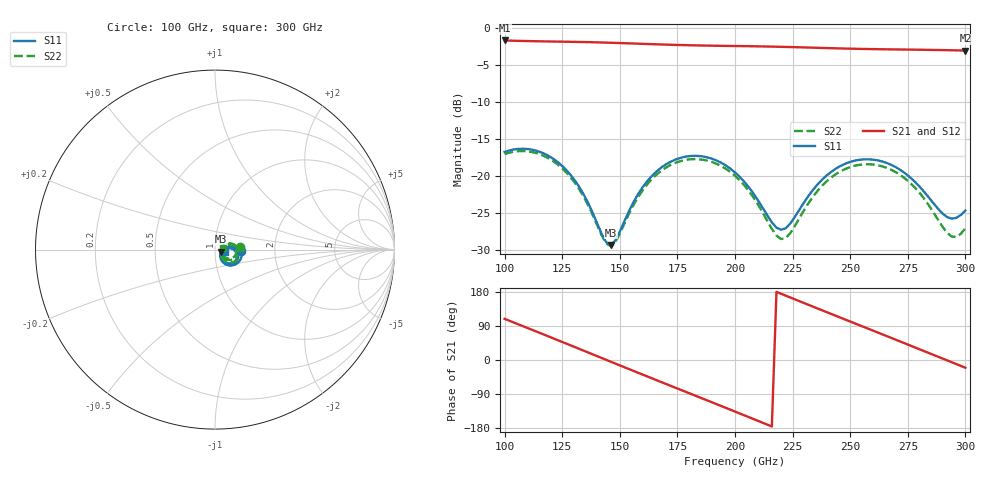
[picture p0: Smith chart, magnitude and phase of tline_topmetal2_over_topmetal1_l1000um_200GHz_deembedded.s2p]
! Created with skrf 2.0.1 (http://scikit-rf.org).
# GHz S DB R 50.0
!freq dBS11 angS11 dBS21 angS21 dBS12 angS12 dBS22 angS22
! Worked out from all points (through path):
!   101 points, 100 GHz to 300 GHz, reference 50 ohm
!   highest |S21| = -1.72 dB at 100 GHz (marker M1); lowest = -3.1 dB at 300 GHz (marker M2)
!   group delay of S21, straight-line fit = 6.79 ps
!   lowest |S11| = -29.3 dB at 146 GHz (marker M3), VSWR 1.07, Z = 53.3 - j1.25 ohm
!   |S11| at or under -10 dB: start of sweep to end of sweep
!   |S22| runs from -29.5 to -16.6 dB; largest |S21 - S12| = 8.9e-14
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100  -16.76 -2.0  -1.72 108.7  -1.72 108.7  -17.06 4.9
108  -16.33 -17.6  -1.79 89.2  -1.79 89.2  -16.64 -10.1
116  -16.83 -33.0  -1.84 69.7  -1.84 69.7  -17.15 -24.8
126  -18.95 -50.4  -1.89 45.1  -1.89 45.1  -19.27 -41.2
134  -22.31 -58.9  -1.94 25.4  -1.94 25.4  -22.62 -49.0
146  -29.29 -19.9  -2.03 -4.3  -2.03 -4.3  -29.47 -10.1
156  -23.49 15.9  -2.14 -28.9  -2.14 -28.9  -23.88 26.1
168  -18.87 4.2  -2.26 -58.3  -2.26 -58.3  -19.30 15.7
176  -17.59 -9.0  -2.34 -77.7  -2.34 -77.7  -18.02 3.0
184  -17.30 -23.1  -2.39 -97.1  -2.39 -97.1  -17.74 -10.6
200  -19.52 -48.2  -2.47 -136.1  -2.47 -136.1  -19.98 -35.5
210  -23.29 -53.6  -2.52 -160.6  -2.52 -160.6  -23.86 -41.7
220  -27.26 -24.9  -2.58 174.8  -2.58 174.8  -28.50 -12.1
224  -26.40 -6.9  -2.61 165.0  -2.61 165.0  -27.72 8.7
234  -21.82 5.4  -2.70 140.5  -2.70 140.5  -22.73 23.4
244  -18.96 -4.4  -2.79 116.1  -2.79 116.1  -19.70 13.8
252  -17.93 -16.2  -2.84 96.7  -2.84 96.7  -18.62 1.9
260  -17.80 -28.8  -2.89 77.3  -2.89 77.3  -18.46 -10.9
268  -18.53 -40.6  -2.93 57.8  -2.93 57.8  -19.19 -23.3
284  -22.85 -51.4  -2.99 18.8  -2.99 18.8  -23.90 -37.2
294  -25.75 -29.0  -3.05 -5.7  -3.05 -5.7  -28.16 -12.7
300  -24.67 -10.5  -3.09 -20.4  -3.09 -20.4  -27.06 13.5
